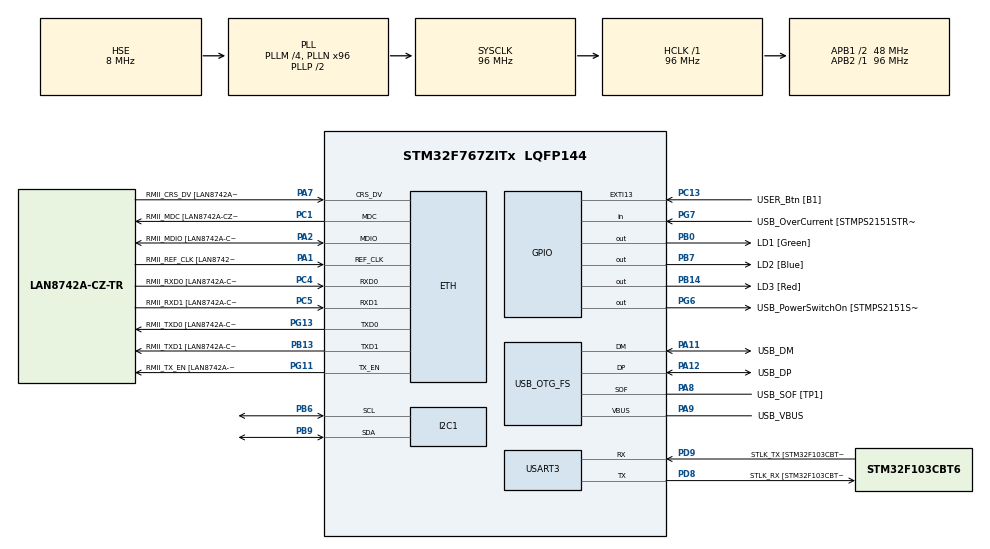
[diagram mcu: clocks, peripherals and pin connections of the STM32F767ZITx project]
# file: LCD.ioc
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ETH.MediaInterface=HAL_ETH_RMII_MODE
ETH.PHY_Name=LAN8742A_PHY_ADDRESS
ETH.PHY_Value=0
ETH.PhyAddress=0
I2C1.Timing=0x20303E5D
Mcu.Family=STM32F7
Mcu.Name=STM32F767ZITx
Mcu.Package=LQFP144
NVIC.PriorityGroup=NVIC_PRIORITYGROUP_4
PA1.GPIO_Label=RMII_REF_CLK [LAN8742A-CZ-TR_REFCLK0]
PA1.Mode=RMII
PA1.Signal=ETH_REF_CLK
PA10.GPIO_Label=USB_ID
PA10.Signal=USB_OTG_FS_ID
PA11.GPIO_Label=USB_DM
PA11.Mode=Device_Only
PA11.Signal=USB_OTG_FS_DM
PA12.GPIO_Label=USB_DP
PA12.Mode=Device_Only
PA12.Signal=USB_OTG_FS_DP
PA13.GPIO_Label=TMS
PA13.Mode=Serial_Wire
PA13.Signal=SYS_JTMS-SWDIO
PA14.GPIO_Label=TCK
PA14.Mode=Serial_Wire
PA14.Signal=SYS_JTCK-SWCLK
PA2.GPIO_Label=RMII_MDIO [LAN8742A-CZ-TR_MDIO]
PA2.Mode=RMII
PA2.Signal=ETH_MDIO
PA7.GPIO_Label=RMII_CRS_DV [LAN8742A-CZ-TR_CRS_DV]
PA7.Mode=RMII
PA7.Signal=ETH_CRS_DV
PA8.GPIO_Label=USB_SOF [TP1]
PA8.Mode=Activate_SOF_FS
PA8.Signal=USB_OTG_FS_SOF
PA9.GPIO_Label=USB_VBUS
PA9.Mode=Activate_VBUS
PA9.Signal=USB_OTG_FS_VBUS
PB0.GPIO_Label=LD1 [Green]
PB0.Signal=GPIO_Output
PB13.GPIO_Label=RMII_TXD1 [LAN8742A-CZ-TR_TXD1]
PB13.Mode=RMII
PB13.Signal=ETH_TXD1
PB14.GPIO_Label=LD3 [Red]
PB14.Signal=GPIO_Output
PB3.GPIO_Label=SWO
PB3.Signal=SYS_JTDO-SWO
PB6.Mode=I2C
PB6.Signal=I2C1_SCL
PB7.GPIO_Label=LD2 [Blue]
PB7.Signal=GPIO_Output
PB9.Mode=I2C
PB9.Signal=I2C1_SDA
PC1.GPIO_Label=RMII_MDC [LAN8742A-CZ-TR_MDC]
PC1.Mode=RMII
PC1.Signal=ETH_MDC
PC13.GPIO_Label=USER_Btn [B1]
PC13.Signal=GPXTI13
PC14/OSC32_IN.Mode=LSE-External-Oscillator
PC14/OSC32_IN.Signal=RCC_OSC32_IN
PC15/OSC32_OUT.Mode=LSE-External-Oscillator
PC15/OSC32_OUT.Signal=RCC_OSC32_OUT
PC4.GPIO_Label=RMII_RXD0 [LAN8742A-CZ-TR_RXD0]
PC4.Mode=RMII
PC4.Signal=ETH_RXD0
PC5.GPIO_Label=RMII_RXD1 [LAN8742A-CZ-TR_RXD1]
PC5.Mode=RMII
PC5.Signal=ETH_RXD1
PD8.GPIO_Label=STLK_RX [STM32F103CBT6_PA3]
PD8.Mode=Asynchronous
PD8.Signal=USART3_TX
PD9.GPIO_Label=STLK_TX [STM32F103CBT6_PA2]
PD9.Mode=Asynchronous
PD9.Signal=USART3_RX
PG11.GPIO_Label=RMII_TX_EN [LAN8742A-CZ-TR_TXEN]
PG11.Mode=RMII
PG11.Signal=ETH_TX_EN
PG13.GPIO_Label=RMII_TXD0 [LAN8742A-CZ-TR_TXD0]
PG13.Mode=RMII
PG13.Signal=ETH_TXD0
PG6.GPIO_Label=USB_PowerSwitchOn [STMPS2151STR_EN]
PG6.Signal=GPIO_Output
PG7.GPIO_Label=USB_OverCurrent [STMPS2151STR_FAULT]
PG7.Signal=GPIO_Input
PH0/OSC_IN.GPIO_Label=MCO [STM32F103CBT6_PA8]
PH0/OSC_IN.Mode=HSE-External-Clock-Source
PH0/OSC_IN.Signal=RCC_OSC_IN
PH1/OSC_OUT.Mode=HSE-External-Clock-Source
PH1/OSC_OUT.Signal=RCC_OSC_OUT
ProjectManager.HeapSize=0x200
ProjectManager.StackSize=0x400
ProjectManager.TargetToolchain=STM32CubeIDE
RCC.48MHZClocksFreq_Value=24000000
RCC.AHBFreq_Value=96000000
RCC.APB1CLKDivider=RCC_HCLK_DIV2
RCC.APB1Freq_Value=48000000
RCC.APB1TimFreq_Value=96000000
RCC.APB2Freq_Value=96000000
RCC.APB2TimFreq_Value=96000000
RCC.CortexFreq_Value=96000000
RCC.HCLKFreq_Value=96000000
RCC.HSE_VALUE=8000000
RCC.HSI_VALUE=16000000
RCC.PLLM=4
RCC.PLLMUL=RCC_PLL_MUL9
RCC.PLLN=96
RCC.PLLQ=4
RCC.PRESCALERUSB=RCC_USBCLKSOURCE_PLL_DIV1_5
RCC.SYSCLKFreq_VALUE=96000000
RCC.SYSCLKSource=RCC_SYSCLKSOURCE_PLLCLK
RCC.SYSCLKSourceVirtual=RCC_SYSCLKSOURCE_PLLCLK
RCC.USBFreq_Value=48000000
RCC.VCOOutputFreq_Value=192000000
USART3.VirtualMode-Asynchronous=VM_ASYNC
USB_OTG_FS.VirtualMode=Device_Only
board=NUCLEO-F767ZI

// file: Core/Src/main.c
/* USER CODE BEGIN Header */
/**
  ******************************************************************************
  * @file           : main.c
  * @brief          : Main program body
  ******************************************************************************
  * @attention
  *
  * Copyright (c) 2026 STMicroelectronics.
  * All rights reserved.
  *
  * This software is licensed under terms that can be found in the LICENSE file
  * in the root directory of this software component.
  * If no LICENSE file comes with this software, it is provided AS-IS.
  *
  ******************************************************************************
  */
/* USER CODE END Header */

/* USER CODE BEGIN Includes */
#include "main.h"
#include "string.h"
#include "lcd_driver.h"
/* USER CODE END Includes */

#if defined ( __ICCARM__ ) /*!< IAR Compiler */
#pragma location=0x2007c000
ETH_DMADescTypeDef  DMARxDscrTab[ETH_RX_DESC_CNT]; /* Ethernet Rx DMA Descriptors */
#pragma location=0x2007c0a0
ETH_DMADescTypeDef  DMATxDscrTab[ETH_TX_DESC_CNT]; /* Ethernet Tx DMA Descriptors */

#elif defined ( __CC_ARM )  /* MDK ARM Compiler */

__attribute__((at(0x2007c000))) ETH_DMADescTypeDef  DMARxDscrTab[ETH_RX_DESC_CNT]; /* Ethernet Rx DMA Descriptors */
__attribute__((at(0x2007c0a0))) ETH_DMADescTypeDef  DMATxDscrTab[ETH_TX_DESC_CNT]; /* Ethernet Tx DMA Descriptors */

#elif defined ( __GNUC__ ) /* GNU Compiler */

ETH_DMADescTypeDef DMARxDscrTab[ETH_RX_DESC_CNT] __attribute__((section(".RxDecripSection"))); /* Ethernet Rx DMA Descriptors */
ETH_DMADescTypeDef DMATxDscrTab[ETH_TX_DESC_CNT] __attribute__((section(".TxDecripSection")));   /* Ethernet Tx DMA Descriptors */
#endif

ETH_TxPacketConfig TxConfig;

ETH_HandleTypeDef heth;

I2C_HandleTypeDef hi2c1;

UART_HandleTypeDef huart3;

PCD_HandleTypeDef hpcd_USB_OTG_FS;

/* USER CODE BEGIN PV */

LCD_t lcd =
{
.hi2c = &hi2c1,
.i2c_address = LCD_I2C_DEVICE_ADDRESS,
.rows = 2,
.colums = 16,
.backlight = true,
};

/* USER CODE END PV */

void SystemClock_Config(void);
static void MX_GPIO_Init(void);
static void MX_ETH_Init(void);
static void MX_USART3_UART_Init(void);
static void MX_USB_OTG_FS_PCD_Init(void);
static void MX_I2C1_Init(void);

int main(void)
{

  /* MCU Configuration--------------------------------------------------------*/

  /* Reset of all peripherals, Initializes the Flash interface and the Systick. */
  HAL_Init();

  /* Configure the system clock */
  SystemClock_Config();

  /* Initialize all configured peripherals */
  MX_GPIO_Init();
  MX_ETH_Init();
  MX_USART3_UART_Init();
  MX_USB_OTG_FS_PCD_Init();
  MX_I2C1_Init();
  /* USER CODE BEGIN 2 */
LCD_Initialization(&lcd);
LCD_Clear(&lcd);
LCD_Set_Cursor(&lcd, 0, 0);

/* USER CODE END 2 */

  /* Infinite loop */
  while (1)
  {

    /* USER CODE BEGIN 3 */
	  LCD_Scroll_Text(&lcd, "SENICOKSEVIYORUM", 1, 250);
	  HAL_Delay(2000);
  }
  /* USER CODE END 3 */
}

void SystemClock_Config(void)
{
  RCC_OscInitTypeDef RCC_OscInitStruct = {0};
  RCC_ClkInitTypeDef RCC_ClkInitStruct = {0};

  /** Configure LSE Drive Capability
  */
  HAL_PWR_EnableBkUpAccess();

  /** Configure the main internal regulator output voltage
  */
  __HAL_RCC_PWR_CLK_ENABLE();
  __HAL_PWR_VOLTAGESCALING_CONFIG(PWR_REGULATOR_VOLTAGE_SCALE3);

  /** Initializes the RCC Oscillators according to the specified parameters
  * in the RCC_OscInitTypeDef structure.
  */
  RCC_OscInitStruct.OscillatorType = RCC_OSCILLATORTYPE_HSE;
  RCC_OscInitStruct.HSEState = RCC_HSE_BYPASS;
  RCC_OscInitStruct.PLL.PLLState = RCC_PLL_ON;
  RCC_OscInitStruct.PLL.PLLSource = RCC_PLLSOURCE_HSE;
  RCC_OscInitStruct.PLL.PLLM = 4;
  RCC_OscInitStruct.PLL.PLLN = 96;
  RCC_OscInitStruct.PLL.PLLP = RCC_PLLP_DIV2;
  RCC_OscInitStruct.PLL.PLLQ = 4;
  RCC_OscInitStruct.PLL.PLLR = 2;
  if (HAL_RCC_OscConfig(&RCC_OscInitStruct) != HAL_OK)
  {
    Error_Handler();
  }

  /** Activate the Over-Drive mode
  */
  if (HAL_PWREx_EnableOverDrive() != HAL_OK)
  {
    Error_Handler();
  }

  /** Initializes the CPU, AHB and APB buses clocks
  */
  RCC_ClkInitStruct.ClockType = RCC_CLOCKTYPE_HCLK|RCC_CLOCKTYPE_SYSCLK
                              |RCC_CLOCKTYPE_PCLK1|RCC_CLOCKTYPE_PCLK2;
  RCC_ClkInitStruct.SYSCLKSource = RCC_SYSCLKSOURCE_PLLCLK;
  RCC_ClkInitStruct.AHBCLKDivider = RCC_SYSCLK_DIV1;
  RCC_ClkInitStruct.APB1CLKDivider = RCC_HCLK_DIV2;
  RCC_ClkInitStruct.APB2CLKDivider = RCC_HCLK_DIV1;

  if (HAL_RCC_ClockConfig(&RCC_ClkInitStruct, FLASH_LATENCY_3) != HAL_OK)
  {
    Error_Handler();
  }
}

static void MX_ETH_Init(void)
{

   static uint8_t MACAddr[6];

  heth.Instance = ETH;
  MACAddr[0] = 0x00;
  MACAddr[1] = 0x80;
  MACAddr[2] = 0xE1;
  MACAddr[3] = 0x00;
  MACAddr[4] = 0x00;
  MACAddr[5] = 0x00;
  heth.Init.MACAddr = &MACAddr[0];
  heth.Init.MediaInterface = HAL_ETH_RMII_MODE;
  heth.Init.TxDesc = DMATxDscrTab;
  heth.Init.RxDesc = DMARxDscrTab;
  heth.Init.RxBuffLen = 1524;

  if (HAL_ETH_Init(&heth) != HAL_OK)
  {
    Error_Handler();
  }

  memset(&TxConfig, 0 , sizeof(ETH_TxPacketConfig));
  TxConfig.Attributes = ETH_TX_PACKETS_FEATURES_CSUM | ETH_TX_PACKETS_FEATURES_CRCPAD;
  TxConfig.ChecksumCtrl = ETH_CHECKSUM_IPHDR_PAYLOAD_INSERT_PHDR_CALC;
  TxConfig.CRCPadCtrl = ETH_CRC_PAD_INSERT;

}

static void MX_I2C1_Init(void)
{

  hi2c1.Instance = I2C1;
  hi2c1.Init.Timing = 0x20303E5D;
  hi2c1.Init.OwnAddress1 = 0;
  hi2c1.Init.AddressingMode = I2C_ADDRESSINGMODE_7BIT;
  hi2c1.Init.DualAddressMode = I2C_DUALADDRESS_DISABLE;
  hi2c1.Init.OwnAddress2 = 0;
  hi2c1.Init.OwnAddress2Masks = I2C_OA2_NOMASK;
  hi2c1.Init.GeneralCallMode = I2C_GENERALCALL_DISABLE;
  hi2c1.Init.NoStretchMode = I2C_NOSTRETCH_DISABLE;
  if (HAL_I2C_Init(&hi2c1) != HAL_OK)
  {
    Error_Handler();
  }

  /** Configure Analogue filter
  */
  if (HAL_I2CEx_ConfigAnalogFilter(&hi2c1, I2C_ANALOGFILTER_ENABLE) != HAL_OK)
  {
    Error_Handler();
  }

  /** Configure Digital filter
  */
  if (HAL_I2CEx_ConfigDigitalFilter(&hi2c1, 0) != HAL_OK)
  {
    Error_Handler();
  }

}

static void MX_USART3_UART_Init(void)
{

  huart3.Instance = USART3;
  huart3.Init.BaudRate = 115200;
  huart3.Init.WordLength = UART_WORDLENGTH_8B;
  huart3.Init.StopBits = UART_STOPBITS_1;
  huart3.Init.Parity = UART_PARITY_NONE;
  huart3.Init.Mode = UART_MODE_TX_RX;
  huart3.Init.HwFlowCtl = UART_HWCONTROL_NONE;
  huart3.Init.OverSampling = UART_OVERSAMPLING_16;
  huart3.Init.OneBitSampling = UART_ONE_BIT_SAMPLE_DISABLE;
  huart3.AdvancedInit.AdvFeatureInit = UART_ADVFEATURE_NO_INIT;
  if (HAL_UART_Init(&huart3) != HAL_OK)
  {
    Error_Handler();
  }

}

static void MX_USB_OTG_FS_PCD_Init(void)
{

  hpcd_USB_OTG_FS.Instance = USB_OTG_FS;
  hpcd_USB_OTG_FS.Init.dev_endpoints = 6;
  hpcd_USB_OTG_FS.Init.speed = PCD_SPEED_FULL;
  hpcd_USB_OTG_FS.Init.dma_enable = DISABLE;
  hpcd_USB_OTG_FS.Init.phy_itface = PCD_PHY_EMBEDDED;
  hpcd_USB_OTG_FS.Init.Sof_enable = ENABLE;
  hpcd_USB_OTG_FS.Init.low_power_enable = DISABLE;
  hpcd_USB_OTG_FS.Init.lpm_enable = DISABLE;
  hpcd_USB_OTG_FS.Init.vbus_sensing_enable = ENABLE;
  hpcd_USB_OTG_FS.Init.use_dedicated_ep1 = DISABLE;
  if (HAL_PCD_Init(&hpcd_USB_OTG_FS) != HAL_OK)
  {
    Error_Handler();
  }

}

static void MX_GPIO_Init(void)
{
  GPIO_InitTypeDef GPIO_InitStruct = {0};

  /* GPIO Ports Clock Enable */
  __HAL_RCC_GPIOC_CLK_ENABLE();
  __HAL_RCC_GPIOH_CLK_ENABLE();
  __HAL_RCC_GPIOA_CLK_ENABLE();
  __HAL_RCC_GPIOB_CLK_ENABLE();
  __HAL_RCC_GPIOD_CLK_ENABLE();
  __HAL_RCC_GPIOG_CLK_ENABLE();

  /*Configure GPIO pin Output Level */
  HAL_GPIO_WritePin(GPIOB, LD1_Pin|LD3_Pin|LD2_Pin, GPIO_PIN_RESET);

  /*Configure GPIO pin Output Level */
  HAL_GPIO_WritePin(USB_PowerSwitchOn_GPIO_Port, USB_PowerSwitchOn_Pin, GPIO_PIN_RESET);

  /*Configure GPIO pin : USER_Btn_Pin */
  GPIO_InitStruct.Pin = USER_Btn_Pin;
  GPIO_InitStruct.Mode = GPIO_MODE_IT_RISING;
  GPIO_InitStruct.Pull = GPIO_NOPULL;
  HAL_GPIO_Init(USER_Btn_GPIO_Port, &GPIO_InitStruct);

  /*Configure GPIO pins : LD1_Pin LD3_Pin LD2_Pin */
  GPIO_InitStruct.Pin = LD1_Pin|LD3_Pin|LD2_Pin;
  GPIO_InitStruct.Mode = GPIO_MODE_OUTPUT_PP;
  GPIO_InitStruct.Pull = GPIO_NOPULL;
  GPIO_InitStruct.Speed = GPIO_SPEED_FREQ_LOW;
  HAL_GPIO_Init(GPIOB, &GPIO_InitStruct);

  /*Configure GPIO pin : USB_PowerSwitchOn_Pin */
  GPIO_InitStruct.Pin = USB_PowerSwitchOn_Pin;
  GPIO_InitStruct.Mode = GPIO_MODE_OUTPUT_PP;
  GPIO_InitStruct.Pull = GPIO_NOPULL;
  GPIO_InitStruct.Speed = GPIO_SPEED_FREQ_LOW;
  HAL_GPIO_Init(USB_PowerSwitchOn_GPIO_Port, &GPIO_InitStruct);

  /*Configure GPIO pin : USB_OverCurrent_Pin */
  GPIO_InitStruct.Pin = USB_OverCurrent_Pin;
  GPIO_InitStruct.Mode = GPIO_MODE_INPUT;
  GPIO_InitStruct.Pull = GPIO_NOPULL;
  HAL_GPIO_Init(USB_OverCurrent_GPIO_Port, &GPIO_InitStruct);

}

void Error_Handler(void)
{
  __disable_irq();
  while (1)
  {
  }
}
